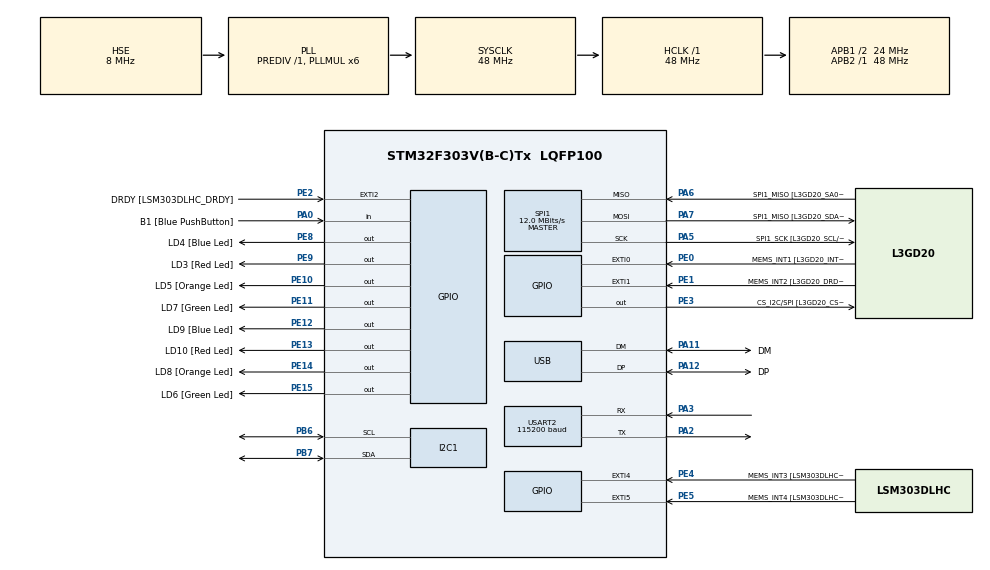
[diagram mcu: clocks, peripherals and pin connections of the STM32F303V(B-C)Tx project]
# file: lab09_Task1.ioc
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I2C1.Timing=0x00201D2B
Mcu.Family=STM32F3
Mcu.Name=STM32F303V(B-C)Tx
Mcu.Package=LQFP100
NVIC.PriorityGroup=NVIC_PRIORITYGROUP_0
PA0.GPIO_Label=B1 [Blue PushButton]
PA0.Signal=GPIO_Input
PA11.GPIO_Label=DM
PA11.Mode=Device
PA11.Signal=USB_DM
PA12.GPIO_Label=DP
PA12.Mode=Device
PA12.Signal=USB_DP
PA13.GPIO_Label=SWDIO
PA13.Mode=Serial_Wire
PA13.Signal=SYS_JTMS-SWDIO
PA14.GPIO_Label=SWCLK
PA14.Mode=Serial_Wire
PA14.Signal=SYS_JTCK-SWCLK
PA2.Mode=Asynchronous
PA2.Signal=USART2_TX
PA3.Mode=Asynchronous
PA3.Signal=USART2_RX
PA5.GPIO_Label=SPI1_SCK [L3GD20_SCL/SPC]
PA5.Mode=Full_Duplex_Master
PA5.Signal=SPI1_SCK
PA6.GPIO_Label=SPI1_MISO [L3GD20_SA0/SDO]
PA6.Mode=Full_Duplex_Master
PA6.Signal=SPI1_MISO
PA7.GPIO_Label=SPI1_MISO [L3GD20_SDA/SDI/SDO]
PA7.Mode=Full_Duplex_Master
PA7.Signal=SPI1_MOSI
PB3.GPIO_Label=SWO
PB3.Signal=SYS_JTDO-TRACESWO
PB6.Mode=I2C
PB6.Signal=I2C1_SCL
PB7.Mode=I2C
PB7.Signal=I2C1_SDA
PC14-OSC32_IN.GPIO_Label=OSC32_IN
PC14-OSC32_IN.Signal=RCC_OSC32_IN
PC15-OSC32_OUT.GPIO_Label=OSC32_OUT
PC15-OSC32_OUT.Signal=RCC_OSC32_OUT
PE0.GPIO_Label=MEMS_INT1 [L3GD20_INT1]
PE0.GPIO_ModeDefaultEXTI=GPIO_MODE_EVT_RISING
PE0.Signal=GPXTI0
PE1.GPIO_Label=MEMS_INT2 [L3GD20_DRDY/INT2]
PE1.GPIO_ModeDefaultEXTI=GPIO_MODE_EVT_RISING
PE1.Signal=GPXTI1
PE10.GPIO_Label=LD5 [Orange Led]
PE10.Signal=GPIO_Output
PE11.GPIO_Label=LD7 [Green Led]
PE11.Signal=GPIO_Output
PE12.GPIO_Label=LD9 [Blue Led]
PE12.Signal=GPIO_Output
PE13.GPIO_Label=LD10 [Red Led]
PE13.Signal=GPIO_Output
PE14.GPIO_Label=LD8 [Orange Led]
PE14.Signal=GPIO_Output
PE15.GPIO_Label=LD6 [Green Led]
PE15.Signal=GPIO_Output
PE2.GPIO_Label=DRDY [LSM303DLHC_DRDY]
PE2.GPIO_ModeDefaultEXTI=GPIO_MODE_EVT_RISING
PE2.Signal=GPXTI2
PE3.GPIO_Label=CS_I2C/SPI [L3GD20_CS_I2C/SPI]
PE3.Signal=GPIO_Output
PE4.GPIO_Label=MEMS_INT3 [LSM303DLHC_INT1]
PE4.GPIO_ModeDefaultEXTI=GPIO_MODE_EVT_RISING
PE4.Signal=GPXTI4
PE5.GPIO_Label=MEMS_INT4 [LSM303DLHC_INT2]
PE5.GPIO_ModeDefaultEXTI=GPIO_MODE_EVT_RISING
PE5.Signal=GPXTI5
PE8.GPIO_Label=LD4 [Blue Led]
PE8.Signal=GPIO_Output
PE9.GPIO_Label=LD3 [Red Led]
PE9.Signal=GPIO_Output
PF0-OSC_IN.GPIO_Label=OSC_IN
PF0-OSC_IN.Mode=HSE-External-Clock-Source
PF0-OSC_IN.Signal=RCC_OSC_IN
PF1-OSC_OUT.GPIO_Label=OSC_OUT
PF1-OSC_OUT.Signal=RCC_OSC_OUT
ProjectManager.HeapSize=0x200
ProjectManager.StackSize=0x400
ProjectManager.TargetToolchain=CMake
RCC.AHBFreq_Value=48000000
RCC.APB1CLKDivider=RCC_HCLK_DIV2
RCC.APB1Freq_Value=24000000
RCC.APB1TimFreq_Value=48000000
RCC.APB2Freq_Value=48000000
RCC.APB2TimFreq_Value=48000000
RCC.CortexFreq_Value=48000000
RCC.HCLKFreq_Value=48000000
RCC.HSE_VALUE=8000000
RCC.HSI_VALUE=8000000
RCC.LSE_VALUE=32768
RCC.PLLMUL=RCC_PLL_MUL6
RCC.SYSCLKFreq_VALUE=48000000
RCC.SYSCLKSourceVirtual=RCC_SYSCLKSOURCE_PLLCLK
RCC.USBFreq_Value=48000000
SPI1.BaudRatePrescaler=SPI_BAUDRATEPRESCALER_4
SPI1.BaudRatePrescaler-Full_Duplex_Master=SPI_BAUDRATEPRESCALER_2
SPI1.CalculateBaudRate=12.0 MBits/s
SPI1.CalculateBaudRate-Full_Duplex_Master=24.0 MBits/s
SPI1.Direction=SPI_DIRECTION_2LINES
SPI1.Mode=SPI_MODE_MASTER
SPI1.Mode-Full_Duplex_Master=SPI_MODE_MASTER
SPI1.VirtualType=VM_MASTER
USART2.BaudRate=115200
USART2.VirtualMode-Asynchronous=VM_ASYNC
board=STM32F3DISCOVERY

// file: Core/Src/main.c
/* USER CODE BEGIN Header */
/**
  ******************************************************************************
  * @file           : main.c
  * @brief          : Main program body
  ******************************************************************************
  * @attention
  *
  * Copyright (c) 2026 STMicroelectronics.
  * All rights reserved.
  *
  * This software is licensed under terms that can be found in the LICENSE file
  * in the root directory of this software component.
  * If no LICENSE file comes with this software, it is provided AS-IS.
  *
  ******************************************************************************
  */
/* USER CODE END Header */
#include "main.h"

/* USER CODE BEGIN Includes */
#include <stdio.h>
#include <string.h>
/* USER CODE END Includes */

I2C_HandleTypeDef hi2c1;

SPI_HandleTypeDef hspi1;

UART_HandleTypeDef huart2;

PCD_HandleTypeDef hpcd_USB_FS;

void SystemClock_Config(void);
static void MX_GPIO_Init(void);
static void MX_I2C1_Init(void);
static void MX_SPI1_Init(void);
static void MX_USB_PCD_Init(void);
static void MX_USART2_UART_Init(void);

/* USER CODE BEGIN 0 */
HAL_StatusTypeDef LSM_ReadID(uint8_t *id)
{
  return HAL_I2C_Mem_Read(
    &hi2c1,
    (0x19 << 1),           // LSM303 I2C address
    0x0F,                  // WHO_AM_I register
    I2C_MEMADD_SIZE_8BIT,
    id,                    //  sensor ID
    1,                     // Read 1 byte
    100
  );
}
/* USER CODE END 0 */

int main(void)
{

  /* MCU Configuration--------------------------------------------------------*/

  /* Reset of all peripherals, Initializes the Flash interface and the Systick. */
  HAL_Init();

  /* Configure the system clock */
  SystemClock_Config();

  /* Initialize all configured peripherals */
  MX_GPIO_Init();
  MX_I2C1_Init();
  MX_SPI1_Init();
  MX_USB_PCD_Init();
  MX_USART2_UART_Init();

  /* Infinite loop */
  while (1)
  {

    /* USER CODE BEGIN 3 */
    uint8_t id = 0;
    char msg[50];

    if (LSM_ReadID(&id) == HAL_OK)
    {
        sprintf(msg, "WHO AM I: 0x%02X\r\n", id);

        HAL_UART_Transmit(&huart2, (uint8_t*)msg,  strlen(msg),  HAL_MAX_DELAY);
    }
    HAL_Delay(1000);

  }
  /* USER CODE END 3 */
}

void SystemClock_Config(void)
{
  RCC_OscInitTypeDef RCC_OscInitStruct = {0};
  RCC_ClkInitTypeDef RCC_ClkInitStruct = {0};
  RCC_PeriphCLKInitTypeDef PeriphClkInit = {0};

  /** Initializes the RCC Oscillators according to the specified parameters
  * in the RCC_OscInitTypeDef structure.
  */
  RCC_OscInitStruct.OscillatorType = RCC_OSCILLATORTYPE_HSI|RCC_OSCILLATORTYPE_HSE;
  RCC_OscInitStruct.HSEState = RCC_HSE_BYPASS;
  RCC_OscInitStruct.HSEPredivValue = RCC_HSE_PREDIV_DIV1;
  RCC_OscInitStruct.HSIState = RCC_HSI_ON;
  RCC_OscInitStruct.HSICalibrationValue = RCC_HSICALIBRATION_DEFAULT;
  RCC_OscInitStruct.PLL.PLLState = RCC_PLL_ON;
  RCC_OscInitStruct.PLL.PLLSource = RCC_PLLSOURCE_HSE;
  RCC_OscInitStruct.PLL.PLLMUL = RCC_PLL_MUL6;
  if (HAL_RCC_OscConfig(&RCC_OscInitStruct) != HAL_OK)
  {
    Error_Handler();
  }

  /** Initializes the CPU, AHB and APB buses clocks
  */
  RCC_ClkInitStruct.ClockType = RCC_CLOCKTYPE_HCLK|RCC_CLOCKTYPE_SYSCLK
                              |RCC_CLOCKTYPE_PCLK1|RCC_CLOCKTYPE_PCLK2;
  RCC_ClkInitStruct.SYSCLKSource = RCC_SYSCLKSOURCE_PLLCLK;
  RCC_ClkInitStruct.AHBCLKDivider = RCC_SYSCLK_DIV1;
  RCC_ClkInitStruct.APB1CLKDivider = RCC_HCLK_DIV2;
  RCC_ClkInitStruct.APB2CLKDivider = RCC_HCLK_DIV1;

  if (HAL_RCC_ClockConfig(&RCC_ClkInitStruct, FLASH_LATENCY_1) != HAL_OK)
  {
    Error_Handler();
  }
  PeriphClkInit.PeriphClockSelection = RCC_PERIPHCLK_USB|RCC_PERIPHCLK_USART2
                              |RCC_PERIPHCLK_I2C1;
  PeriphClkInit.Usart2ClockSelection = RCC_USART2CLKSOURCE_PCLK1;
  PeriphClkInit.I2c1ClockSelection = RCC_I2C1CLKSOURCE_HSI;
  PeriphClkInit.USBClockSelection = RCC_USBCLKSOURCE_PLL;
  if (HAL_RCCEx_PeriphCLKConfig(&PeriphClkInit) != HAL_OK)
  {
    Error_Handler();
  }
}

static void MX_I2C1_Init(void)
{

  hi2c1.Instance = I2C1;
  hi2c1.Init.Timing = 0x00201D2B;
  hi2c1.Init.OwnAddress1 = 0;
  hi2c1.Init.AddressingMode = I2C_ADDRESSINGMODE_7BIT;
  hi2c1.Init.DualAddressMode = I2C_DUALADDRESS_DISABLE;
  hi2c1.Init.OwnAddress2 = 0;
  hi2c1.Init.OwnAddress2Masks = I2C_OA2_NOMASK;
  hi2c1.Init.GeneralCallMode = I2C_GENERALCALL_DISABLE;
  hi2c1.Init.NoStretchMode = I2C_NOSTRETCH_DISABLE;
  if (HAL_I2C_Init(&hi2c1) != HAL_OK)
  {
    Error_Handler();
  }

  /** Configure Analogue filter
  */
  if (HAL_I2CEx_ConfigAnalogFilter(&hi2c1, I2C_ANALOGFILTER_ENABLE) != HAL_OK)
  {
    Error_Handler();
  }

  /** Configure Digital filter
  */
  if (HAL_I2CEx_ConfigDigitalFilter(&hi2c1, 0) != HAL_OK)
  {
    Error_Handler();
  }

}

static void MX_SPI1_Init(void)
{

  /* SPI1 parameter configuration*/
  hspi1.Instance = SPI1;
  hspi1.Init.Mode = SPI_MODE_MASTER;
  hspi1.Init.Direction = SPI_DIRECTION_2LINES;
  hspi1.Init.DataSize = SPI_DATASIZE_4BIT;
  hspi1.Init.CLKPolarity = SPI_POLARITY_LOW;
  hspi1.Init.CLKPhase = SPI_PHASE_1EDGE;
  hspi1.Init.NSS = SPI_NSS_SOFT;
  hspi1.Init.BaudRatePrescaler = SPI_BAUDRATEPRESCALER_4;
  hspi1.Init.FirstBit = SPI_FIRSTBIT_MSB;
  hspi1.Init.TIMode = SPI_TIMODE_DISABLE;
  hspi1.Init.CRCCalculation = SPI_CRCCALCULATION_DISABLE;
  hspi1.Init.CRCPolynomial = 7;
  hspi1.Init.CRCLength = SPI_CRC_LENGTH_DATASIZE;
  hspi1.Init.NSSPMode = SPI_NSS_PULSE_ENABLE;
  if (HAL_SPI_Init(&hspi1) != HAL_OK)
  {
    Error_Handler();
  }

}

static void MX_USART2_UART_Init(void)
{

  huart2.Instance = USART2;
  huart2.Init.BaudRate = 115200;
  huart2.Init.WordLength = UART_WORDLENGTH_8B;
  huart2.Init.StopBits = UART_STOPBITS_1;
  huart2.Init.Parity = UART_PARITY_NONE;
  huart2.Init.Mode = UART_MODE_TX_RX;
  huart2.Init.HwFlowCtl = UART_HWCONTROL_NONE;
  huart2.Init.OverSampling = UART_OVERSAMPLING_16;
  huart2.Init.OneBitSampling = UART_ONE_BIT_SAMPLE_DISABLE;
  huart2.AdvancedInit.AdvFeatureInit = UART_ADVFEATURE_NO_INIT;
  if (HAL_UART_Init(&huart2) != HAL_OK)
  {
    Error_Handler();
  }

}

static void MX_USB_PCD_Init(void)
{

  hpcd_USB_FS.Instance = USB;
  hpcd_USB_FS.Init.dev_endpoints = 8;
  hpcd_USB_FS.Init.speed = PCD_SPEED_FULL;
  hpcd_USB_FS.Init.phy_itface = PCD_PHY_EMBEDDED;
  hpcd_USB_FS.Init.low_power_enable = DISABLE;
  hpcd_USB_FS.Init.battery_charging_enable = DISABLE;
  if (HAL_PCD_Init(&hpcd_USB_FS) != HAL_OK)
  {
    Error_Handler();
  }

}

static void MX_GPIO_Init(void)
{
  GPIO_InitTypeDef GPIO_InitStruct = {0};

  /* GPIO Ports Clock Enable */
  __HAL_RCC_GPIOE_CLK_ENABLE();
  __HAL_RCC_GPIOC_CLK_ENABLE();
  __HAL_RCC_GPIOF_CLK_ENABLE();
  __HAL_RCC_GPIOA_CLK_ENABLE();
  __HAL_RCC_GPIOB_CLK_ENABLE();

  /*Configure GPIO pin Output Level */
  HAL_GPIO_WritePin(GPIOE, CS_I2C_SPI_Pin|LD4_Pin|LD3_Pin|LD5_Pin
                          |LD7_Pin|LD9_Pin|LD10_Pin|LD8_Pin
                          |LD6_Pin, GPIO_PIN_RESET);

  /*Configure GPIO pins : DRDY_Pin MEMS_INT3_Pin MEMS_INT4_Pin MEMS_INT1_Pin
                           MEMS_INT2_Pin */
  GPIO_InitStruct.Pin = DRDY_Pin|MEMS_INT3_Pin|MEMS_INT4_Pin|MEMS_INT1_Pin
                          |MEMS_INT2_Pin;
  GPIO_InitStruct.Mode = GPIO_MODE_EVT_RISING;
  GPIO_InitStruct.Pull = GPIO_NOPULL;
  HAL_GPIO_Init(GPIOE, &GPIO_InitStruct);

  /*Configure GPIO pins : CS_I2C_SPI_Pin LD4_Pin LD3_Pin LD5_Pin
                           LD7_Pin LD9_Pin LD10_Pin LD8_Pin
                           LD6_Pin */
  GPIO_InitStruct.Pin = CS_I2C_SPI_Pin|LD4_Pin|LD3_Pin|LD5_Pin
                          |LD7_Pin|LD9_Pin|LD10_Pin|LD8_Pin
                          |LD6_Pin;
  GPIO_InitStruct.Mode = GPIO_MODE_OUTPUT_PP;
  GPIO_InitStruct.Pull = GPIO_NOPULL;
  GPIO_InitStruct.Speed = GPIO_SPEED_FREQ_LOW;
  HAL_GPIO_Init(GPIOE, &GPIO_InitStruct);

  /*Configure GPIO pin : B1_Pin */
  GPIO_InitStruct.Pin = B1_Pin;
  GPIO_InitStruct.Mode = GPIO_MODE_INPUT;
  GPIO_InitStruct.Pull = GPIO_NOPULL;
  HAL_GPIO_Init(B1_GPIO_Port, &GPIO_InitStruct);

}

void Error_Handler(void)
{
  __disable_irq();
  while (1)
  {
  }
}
